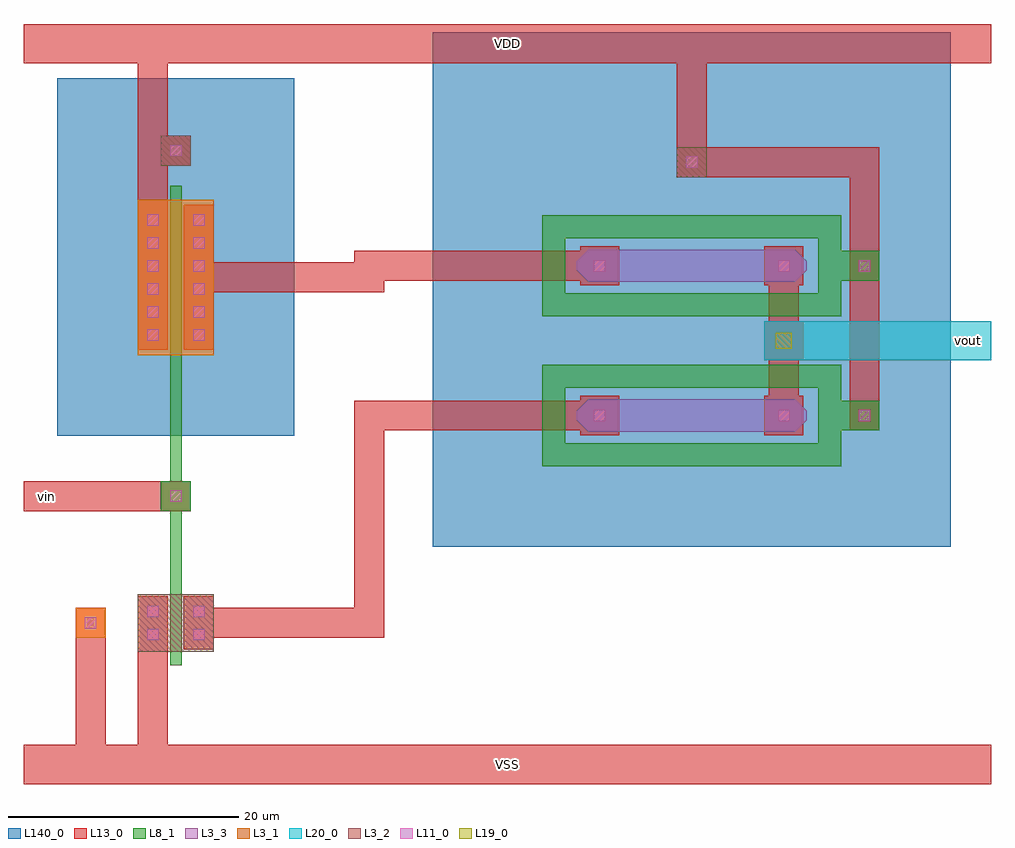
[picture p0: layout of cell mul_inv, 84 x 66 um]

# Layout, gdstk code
import gdstk
lib = gdstk.Library(unit=1e-6, precision=1e-09)
def R(c, l, rs):  # rectangles x0, y0, x1, y1
    for r in rs: c.add(gdstk.rectangle(r[:2], r[2:], *l))
def A(c, l, x, y, w, h, nx, ny, dx, dy):  # array of equal rectangles
    R(c, l, [(x+i*dx, y+j*dy, x+i*dx+w, y+j*dy+h) for i in range(nx) for j in range(ny)])
def P(c, l, *ps):  # polygons
    for p in ps: c.add(gdstk.Polygon(p, *l))
L3_1 = (3, 1)
L3_2 = (3, 2)
L3_3 = (3, 3)
L8_1 = (8, 1)
L11_0 = (11, 0)
L13_0 = (13, 0)
L19_0 = (19, 0)
L20_0 = (20, 0)
L140_0 = (140, 0)

fet_p = lib.new_cell('fet_p')
R(fet_p, L3_1, [(-3.3,-6.75,3.3,6.75)])
A(fet_p, L11_0, -2.5, -5.5, 1, 1, 1, 6, 0, 2)
A(fet_p, L11_0, 1.5, -5.5, 1, 1, 1, 6, 0, 2)
R(fet_p, L13_0, [(-3.3,-6.3,-0.7,6.3), (0.7,-6.3,3.3,6.3)])
fet_p.add(gdstk.FlexPath([(0,-7.95),(0,7.95)], 1, ends="flush", simple_path=True, layer=8, datatype=1))  # L8_1

fet_n = lib.new_cell('fet_n')
R(fet_n, L3_2, [(-3.3,-2.5,3.3,2.5)])
R(fet_n, L11_0, [(-2.5,-1.5,-1.5,-0.5), (1.5,-1.5,2.5,-0.5), (-2.5,0.5,-1.5,1.5), (1.5,0.5,2.5,1.5)])
R(fet_n, L13_0, [(-3.3,-2.3,-0.7,2.3), (0.7,-2.3,3.3,2.3)])
fet_n.add(gdstk.FlexPath([(0,-3.7),(0,3.7)], 1, ends="flush", simple_path=True, layer=8, datatype=1))  # L8_1

res_diff = lib.new_cell('res_diff')
P(res_diff, L3_3, [(-9,-1.4),(-10,-0.4),(-10,0.4),(-9,1.4),(9,1.4),(10,0.4),(10,-0.4),(9,-1.4)])
P(res_diff, L8_1, [(-13,-4.4),(-13,2.4),(-11,2.4),(-11,-2.4),(11,-2.4),(11,2.4),(-13,2.4),(-13,4.4),(13,4.4),(13,-4.4)])
R(res_diff, L11_0, [(-8.5,-0.5,-7.5,0.5), (7.5,-0.5,8.5,0.5)])
R(res_diff, L13_0, [(-9.7,-1.7,-6.3,1.7), (6.3,-1.7,9.7,1.7)])

cont_n = lib.new_cell('cont_n')
R(cont_n, L3_2, [(-1.3,-1.3,1.3,1.3)])
R(cont_n, L11_0, [(-0.5,-0.5,0.5,0.5)])
R(cont_n, L13_0, [(-1.3,-1.3,1.3,1.3)])

cont_p = lib.new_cell('cont_p')
R(cont_p, L3_1, [(-1.3,-1.3,1.3,1.3)])
R(cont_p, L11_0, [(-0.5,-0.5,0.5,0.5)])
R(cont_p, L13_0, [(-1.3,-1.3,1.3,1.3)])

cont_g = lib.new_cell('cont_g')
R(cont_g, L8_1, [(-1.3,-1.3,1.3,1.3)])
R(cont_g, L11_0, [(-0.5,-0.5,0.5,0.5)])
R(cont_g, L13_0, [(-1.3,-1.3,1.3,1.3)])

via_1 = lib.new_cell('via_1')
R(via_1, L13_0, [(-1.7,-1.7,1.7,1.7)])
R(via_1, L19_0, [(-0.7,-0.7,0.7,0.7)])
R(via_1, L20_0, [(-1.7,-1.7,1.7,1.7)])

mul_inv = lib.new_cell('mul_inv')
R(mul_inv, L8_1, [(12.7,13.5,13.7,44.5), (69.7,30.7,74.3,33.3), (69.7,43.7,74.3,46.3)])
R(mul_inv, L13_0, [(0,0,84,3.4), (4.5,0.4,7.1,15.3), (9.9,0.4,12.5,15.3), (13.9,12.7,31.3,15.3), (28.7,12.7,31.3,33.3), (0,23.7,13.2,26.3), (28.7,30.7,51.3,33.3), (64.7,30.7,67.3,46.3), (71.7,30.7,74.3,55.3), (9.9,42.7,12.5,65.6), (13.9,42.7,31.3,45.3), (28.7,42.7,31.3,46.3), (28.7,43.7,51.3,46.3), (56.7,52.7,59.3,65.6), (56.7,52.7,74.3,55.3), (9.9,53.7,14.5,56.3), (0,62.6,84,66)])
R(mul_inv, L20_0, [(66,36.8,84,40.2)])
R(mul_inv, L140_0, [(35.5,20.6,80.5,65.3), (2.9,30.25,23.5,61.3)])
mul_inv.add(gdstk.Reference(fet_p, (13.2,44)))
mul_inv.add(gdstk.Reference(fet_n, (13.2,14)))
mul_inv.add(gdstk.Reference(res_diff, (58,45)))
mul_inv.add(gdstk.Reference(res_diff, (58,32)))
mul_inv.add(gdstk.Reference(cont_n, (13.2,55)))
mul_inv.add(gdstk.Reference(cont_n, (58,54)))
mul_inv.add(gdstk.Reference(cont_p, (5.8,14)))
mul_inv.add(gdstk.Reference(cont_g, (73,32)))
mul_inv.add(gdstk.Reference(cont_g, (73,45)))
mul_inv.add(gdstk.Reference(cont_g, (13.2,25)))
mul_inv.add(gdstk.Reference(via_1, (66,38.5)))
mul_inv.add(gdstk.Label('vin', (2,25), layer=48, texttype=0))
mul_inv.add(gdstk.Label('VDD', (42,64.3), layer=48, texttype=0))
mul_inv.add(gdstk.Label('VSS', (42,1.7), layer=48, texttype=0))
mul_inv.add(gdstk.Label('vout', (82,38.5), layer=49, texttype=0))

lib.write_gds('mul_inv.gds')
